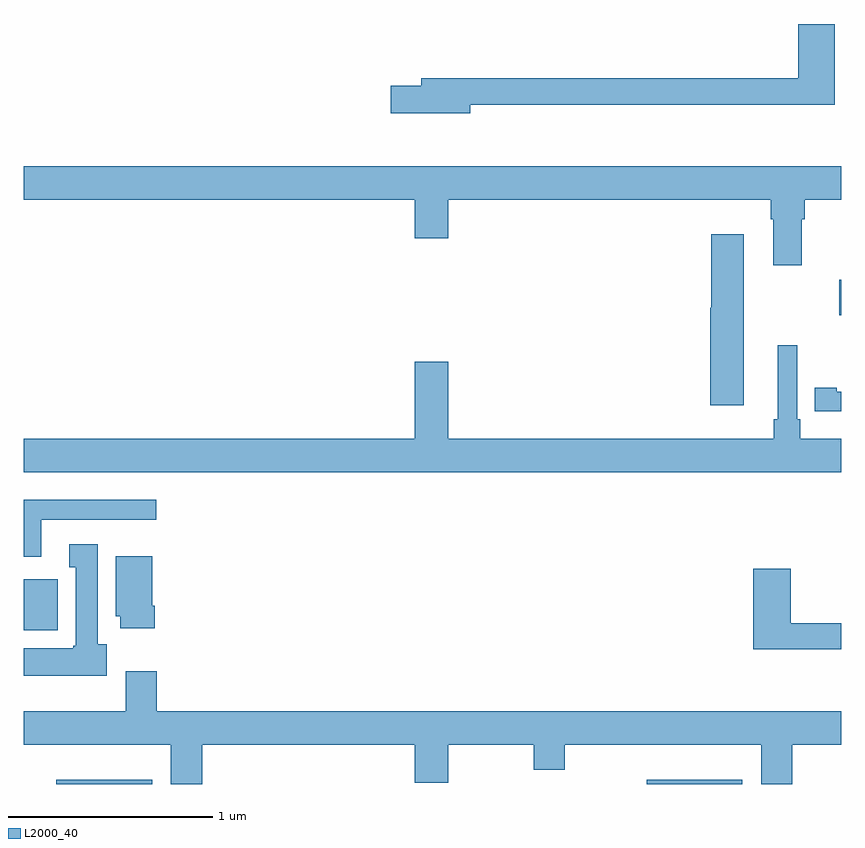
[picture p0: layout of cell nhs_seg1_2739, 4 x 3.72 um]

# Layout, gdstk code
import gdstk
lib = gdstk.Library(unit=1e-6, precision=1e-09)
def R(c, l, rs):  # rectangles x0, y0, x1, y1
    for r in rs: c.add(gdstk.rectangle(r[:2], r[2:], *l))
def P(c, l, *ps):  # polygons
    for p in ps: c.add(gdstk.Polygon(p, *l))
L2000_40 = (2000, 40)

nhs_seg1_2739 = lib.new_cell('nhs_seg1_2739')
R(nhs_seg1_2739, L2000_40, [(259.161,558.199,259.63,558.22), (262.047,558.199,262.516,558.22), (259,558.95,259.167,559.201), (262.989,560.491,263,560.665)])
P(nhs_seg1_2739, L2000_40, [(261.184,561.522),(262.968,561.522),(262.968,561.916),(262.79,561.916),(262.79,561.65),(260.945,561.65),(260.945,561.614),(260.796,561.614),(260.796,561.479),(261.184,561.479)],
  [(262.807,560.96),(262.82,560.96),(262.82,561.056),(263,561.056),(263,561.22),(259,561.22),(259,561.056),(260.912,561.056),(260.912,560.868),(261.076,560.868),(261.076,561.056),(262.655,561.056),(262.655,560.96),(262.667,560.96),(262.667,560.736),(262.807,560.736)],
  [(262.522,560.887),(262.364,560.887),(262.364,560.529),(262.358,560.529),(262.358,560.052),(262.522,560.052)],
  [(263,559.888),(262.799,559.888),(262.799,559.984),(262.785,559.984),(262.785,560.344),(262.688,560.344),(262.688,559.984),(262.669,559.984),(262.669,559.888),(261.076,559.888),(261.076,560.263),(260.912,560.263),(260.912,559.888),(259,559.888),(259,559.724),(263,559.724)],
  [(263,560.118),(262.978,560.118),(262.978,560.138),(262.87,560.138),(262.87,560.022),(262.978,560.022),(262.978,560.021),(263,560.021)],
  [(259.087,559.491),(259.648,559.491),(259.648,559.588),(259,559.588),(259,559.31),(259.087,559.31)],
  [(259.408,558.882),(259.363,558.882),(259.363,559.372),(259.223,559.372),(259.223,559.259),(259.256,559.259),(259.256,558.876),(259.243,558.876),(259.243,558.862),(259,558.862),(259,558.728),(259.408,558.728)],
  [(259.642,559.072),(259.63,559.072),(259.63,559.312),(259.451,559.312),(259.451,559.02),(259.472,559.02),(259.472,558.96),(259.642,558.96)],
  [(263,558.986),(262.751,558.986),(262.751,559.252),(262.568,559.252),(262.568,558.858),(263,558.858)],
  [(259.874,558.392),(260.912,558.392),(260.912,558.204),(261.076,558.204),(261.076,558.392),(261.496,558.392),(261.496,558.268),(261.647,558.268),(261.647,558.392),(262.607,558.392),(262.607,558.199),(262.76,558.199),(262.76,558.392),(263,558.392),(263,558.556),(259.652,558.556),(259.652,558.751),(259.499,558.751),(259.499,558.556),(259,558.556),(259,558.392),(259.721,558.392),(259.721,558.199),(259.874,558.199)])

lib.write_gds('nhs_seg1_2739.gds')
